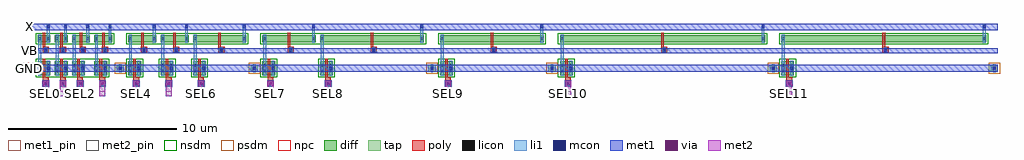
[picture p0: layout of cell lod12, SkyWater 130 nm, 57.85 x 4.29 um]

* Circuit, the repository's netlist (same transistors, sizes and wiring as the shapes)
* NGSPICE file created from lod12.ext - technology: sky130A

.subckt lod12 SEL0 SEL1 SEL2 SEL3 SEL4 SEL5 SEL6 SEL7 SEL8 SEL9 SEL10 SEL11 X VB GND
X0 GND SEL10 a_6330_n392# GND sky130_fd_pr__nfet_01v8 ad=0.252 pd=2.28 as=0.252 ps=2.28 w=0.84 l=0.15
X1 X VB a_342_n392# GND sky130_fd_pr__nfet_01v8 ad=0.126 pd=1.44 as=0.126 ps=1.44 w=0.42 l=0.15
X2 X VB a_546_n392# GND sky130_fd_pr__nfet_01v8 ad=0.189 pd=1.74 as=0.189 ps=1.74 w=0.42 l=0.15
X3 X VB a_1212_n392# GND sky130_fd_pr__nfet_01v8 ad=0.315 pd=2.34 as=0.315 ps=2.34 w=0.42 l=0.15
X4 X VB a_1980_n392# GND sky130_fd_pr__nfet_01v8 ad=0.63 pd=3.84 as=0.63 ps=3.84 w=0.42 l=0.15
X5 GND SEL3 a_810_n392# GND sky130_fd_pr__nfet_01v8 ad=0.252 pd=2.28 as=0.252 ps=2.28 w=0.84 l=0.15
X6 X VB a_138_n392# GND sky130_fd_pr__nfet_01v8 ad=0.126 pd=1.44 as=0.126 ps=1.44 w=0.42 l=0.15
X7 GND SEL0 a_138_n392# GND sky130_fd_pr__nfet_01v8 ad=0.252 pd=2.28 as=0.252 ps=2.28 w=0.84 l=0.15
X8 GND SEL2 a_546_n392# GND sky130_fd_pr__nfet_01v8 ad=0.252 pd=2.28 as=0.252 ps=2.28 w=0.84 l=0.15
X9 GND SEL11 a_8952_n392# GND sky130_fd_pr__nfet_01v8 ad=0.252 pd=2.28 as=0.252 ps=2.28 w=0.84 l=0.15
X10 X VB a_8952_n392# GND sky130_fd_pr__nfet_01v8 ad=2.52 pd=12.84 as=2.52 ps=12.84 w=0.42 l=0.15
X11 GND SEL5 a_1596_n392# GND sky130_fd_pr__nfet_01v8 ad=0.252 pd=2.28 as=0.252 ps=2.28 w=0.84 l=0.15
X12 X VB a_2802_n392# GND sky130_fd_pr__nfet_01v8 ad=0.63 pd=3.84 as=0.63 ps=3.84 w=0.42 l=0.15
X13 X VB a_3486_n392# GND sky130_fd_pr__nfet_01v8 ad=1.26 pd=6.84 as=1.26 ps=6.84 w=0.42 l=0.15
X14 X VB a_810_n392# GND sky130_fd_pr__nfet_01v8 ad=0.189 pd=1.74 as=0.189 ps=1.74 w=0.42 l=0.15
X15 GND SEL7 a_2802_n392# GND sky130_fd_pr__nfet_01v8 ad=0.252 pd=2.28 as=0.252 ps=2.28 w=0.84 l=0.15
X16 GND SEL9 a_4908_n392# GND sky130_fd_pr__nfet_01v8 ad=0.252 pd=2.28 as=0.252 ps=2.28 w=0.84 l=0.15
X17 GND SEL6 a_1980_n392# GND sky130_fd_pr__nfet_01v8 ad=0.252 pd=2.28 as=0.252 ps=2.28 w=0.84 l=0.15
X18 X VB a_1596_n392# GND sky130_fd_pr__nfet_01v8 ad=0.315 pd=2.34 as=0.315 ps=2.34 w=0.42 l=0.15
X19 X VB a_6330_n392# GND sky130_fd_pr__nfet_01v8 ad=2.52 pd=12.84 as=2.52 ps=12.84 w=0.42 l=0.15
X20 GND SEL8 a_3486_n392# GND sky130_fd_pr__nfet_01v8 ad=0.252 pd=2.28 as=0.252 ps=2.28 w=0.84 l=0.15
X21 GND SEL4 a_1212_n392# GND sky130_fd_pr__nfet_01v8 ad=0.252 pd=2.28 as=0.252 ps=2.28 w=0.84 l=0.15
X22 X VB a_4908_n392# GND sky130_fd_pr__nfet_01v8 ad=1.26 pd=6.84 as=1.26 ps=6.84 w=0.42 l=0.15
X23 GND SEL1 a_342_n392# GND sky130_fd_pr__nfet_01v8 ad=0.252 pd=2.28 as=0.252 ps=2.28 w=0.84 l=0.15
.ends

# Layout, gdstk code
import gdstk
lib = gdstk.Library(unit=1e-6, precision=1e-09)
def R(c, l, rs):  # rectangles x0, y0, x1, y1
    for r in rs: c.add(gdstk.rectangle(r[:2], r[2:], *l))
def A(c, l, x, y, w, h, nx, ny, dx, dy):  # array of equal rectangles
    R(c, l, [(x+i*dx, y+j*dy, x+i*dx+w, y+j*dy+h) for i in range(nx) for j in range(ny)])
diff = (65, 20)
tap = (65, 44)
poly = (66, 20)
licon = (66, 44)
li1 = (67, 20)
mcon = (67, 44)
met1_pin = (68, 16)
met1 = (68, 20)
via = (68, 44)
met2_pin = (69, 16)
met2 = (69, 20)
nsdm = (93, 44)
psdm = (94, 20)
npc = (95, 20)

lod12 = lib.new_cell('lod12')
A(lod12, diff, 0.69, -1.96, 0.75, 0.84, 3, 1, 1.02, 0)
A(lod12, diff, 6.06, -1.96, 0.75, 0.84, 3, 1, 1.92, 0)
A(lod12, diff, 17.43, -1.96, 0.75, 0.84, 3, 1, 7.11, 0)
R(lod12, diff, [(4.05,-1.96,4.8,-1.12), (14.01,-1.96,14.76,-1.12), (44.76,-1.96,45.51,-1.12), (0.69,0,1.44,0.42), (1.71,0,2.46,0.42), (2.73,0,3.78,0.42), (4.05,0,5.1,0.42), (6.06,0,7.71,0.42), (7.98,0,9.63,0.42), (9.9,0,13.05,0.42), (14.01,0,17.16,0.42), (17.43,0,23.58,0.42), (24.54,0,30.69,0.42), (31.65,0,43.8,0.42), (44.76,0,56.91,0.42)])
A(lod12, tap, 30.96, -1.75, 0.42, 0.42, 3, 1, 13.11, 0)
R(lod12, tap, [(0,-1.75,0.42,-1.33), (5.37,-1.75,5.79,-1.33), (13.32,-1.75,13.74,-1.33), (23.85,-1.75,24.27,-1.33)])
A(lod12, poly, 0.99, -2.62, 0.34, 0.53, 3, 1, 1.02, 0)
A(lod12, poly, 6.36, -2.62, 0.34, 0.53, 3, 1, 1.92, 0)
A(lod12, poly, 17.73, -2.62, 0.34, 0.53, 3, 1, 7.11, 0)
A(lod12, poly, 0.99, -2.09, 0.15, 1.1, 3, 1, 1.02, 0)
A(lod12, poly, 6.36, -2.09, 0.15, 1.1, 3, 1, 1.92, 0)
A(lod12, poly, 17.73, -2.09, 0.15, 1.1, 3, 1, 7.11, 0)
R(lod12, poly, [(4.35,-2.62,4.69,-2.09), (14.31,-2.62,14.65,-2.09), (45.06,-2.62,45.4,-2.09), (4.35,-2.09,4.5,-0.99), (14.31,-2.09,14.46,-0.99), (45.06,-2.09,45.21,-0.99), (0.99,-0.62,1.33,-0.29), (2.01,-0.62,2.35,-0.29), (3.18,-0.62,3.52,-0.29), (4.5,-0.62,4.84,-0.29), (6.81,-0.62,7.15,-0.29), (8.73,-0.62,9.07,-0.29), (11.4,-0.62,11.74,-0.29), (15.51,-0.62,15.85,-0.29), (20.43,-0.62,20.77,-0.29), (27.54,-0.62,27.88,-0.29), (37.65,-0.62,37.99,-0.29), (50.76,-0.62,51.1,-0.29), (0.99,-0.29,1.14,0.55), (2.01,-0.29,2.16,0.55), (3.18,-0.29,3.33,0.55), (4.5,-0.29,4.65,0.55), (6.81,-0.29,6.96,0.55), (8.73,-0.29,8.88,0.55), (11.4,-0.29,11.55,0.55), (15.51,-0.29,15.66,0.55), (20.43,-0.29,20.58,0.55), (27.54,-0.29,27.69,0.55), (37.65,-0.29,37.8,0.55), (50.76,-0.29,50.91,0.55)])
A(lod12, licon, 1.08, -2.54, 0.17, 0.17, 3, 1, 1.02, 0)
A(lod12, licon, 6.45, -2.54, 0.17, 0.17, 3, 1, 1.92, 0)
A(lod12, licon, 17.82, -2.54, 0.17, 0.17, 3, 1, 7.11, 0)
A(lod12, licon, 31.085, -1.625, 0.17, 0.17, 3, 1, 13.11, 0)
R(lod12, licon, [(4.44,-2.54,4.61,-2.37), (14.4,-2.54,14.57,-2.37), (45.15,-2.54,45.32,-2.37), (0.73,-1.795,0.9,-1.625), (1.23,-1.795,1.4,-1.625), (1.75,-1.795,1.92,-1.625), (2.25,-1.795,2.42,-1.625), (2.77,-1.795,2.94,-1.625), (3.27,-1.795,3.44,-1.625), (4.09,-1.795,4.26,-1.625), (4.59,-1.795,4.76,-1.625), (6.1,-1.795,6.27,-1.625), (6.6,-1.795,6.77,-1.625), (8.02,-1.795,8.19,-1.625), (8.52,-1.795,8.69,-1.625), (9.94,-1.795,10.11,-1.625), (10.44,-1.795,10.61,-1.625), (14.05,-1.795,14.22,-1.625), (14.55,-1.795,14.72,-1.625), (17.47,-1.795,17.64,-1.625), (17.97,-1.795,18.14,-1.625), (24.58,-1.795,24.75,-1.625), (25.08,-1.795,25.25,-1.625), (31.69,-1.795,31.86,-1.625), (32.19,-1.795,32.36,-1.625), (44.8,-1.795,44.97,-1.625), (45.3,-1.795,45.47,-1.625), (0.125,-1.625,0.295,-1.455), (5.495,-1.625,5.665,-1.455), (13.445,-1.625,13.615,-1.455), (23.975,-1.625,24.145,-1.455), (0.73,-1.455,0.9,-1.285), (1.23,-1.455,1.4,-1.285), (1.75,-1.455,1.92,-1.285), (2.25,-1.455,2.42,-1.285), (2.77,-1.455,2.94,-1.285), (3.27,-1.455,3.44,-1.285), (4.09,-1.455,4.26,-1.285), (4.59,-1.455,4.76,-1.285), (6.1,-1.455,6.27,-1.285), (6.6,-1.455,6.77,-1.285), (8.02,-1.455,8.19,-1.285), (8.52,-1.455,8.69,-1.285), (9.94,-1.455,10.11,-1.285), (10.44,-1.455,10.61,-1.285), (14.05,-1.455,14.22,-1.285), (14.55,-1.455,14.72,-1.285), (17.47,-1.455,17.64,-1.285), (17.97,-1.455,18.14,-1.285), (24.58,-1.455,24.75,-1.285), (25.08,-1.455,25.25,-1.285), (31.69,-1.455,31.86,-1.285), (32.19,-1.455,32.36,-1.285), (44.8,-1.455,44.97,-1.285), (45.3,-1.455,45.47,-1.285), (1.08,-0.54,1.25,-0.37), (2.1,-0.54,2.27,-0.37), (3.27,-0.54,3.44,-0.37), (4.59,-0.54,4.76,-0.37), (6.9,-0.54,7.07,-0.37), (8.82,-0.54,8.99,-0.37), (11.49,-0.54,11.66,-0.37), (15.6,-0.54,15.77,-0.37), (20.52,-0.54,20.69,-0.37), (27.63,-0.54,27.8,-0.37), (37.74,-0.54,37.91,-0.37), (50.85,-0.54,51.02,-0.37), (0.73,0.125,0.9,0.295), (1.23,0.125,1.4,0.295), (1.75,0.125,1.92,0.295), (2.25,0.125,2.42,0.295), (2.77,0.125,2.94,0.295), (3.57,0.125,3.74,0.295), (4.09,0.125,4.26,0.295), (4.89,0.125,5.06,0.295), (6.1,0.125,6.27,0.295), (7.5,0.125,7.67,0.295), (8.02,0.125,8.19,0.295), (9.42,0.125,9.59,0.295), (9.94,0.125,10.11,0.295), (12.84,0.125,13.01,0.295), (14.05,0.125,14.22,0.295), (16.95,0.125,17.12,0.295), (17.47,0.125,17.64,0.295), (23.37,0.125,23.54,0.295), (24.58,0.125,24.75,0.295), (30.48,0.125,30.65,0.295), (31.69,0.125,31.86,0.295), (43.59,0.125,43.76,0.295), (44.8,0.125,44.97,0.295), (56.7,0.125,56.87,0.295)])
A(lod12, li1, 1.08, -2.62, 0.17, 0.33, 3, 1, 1.02, 0)
A(lod12, li1, 6.45, -2.62, 0.17, 0.33, 3, 1, 1.92, 0)
A(lod12, li1, 17.82, -2.62, 0.17, 0.33, 3, 1, 7.11, 0)
A(lod12, li1, 0.73, -1.98, 0.17, 2.42, 3, 1, 1.02, 0)
A(lod12, li1, 1.23, -1.98, 0.17, 0.88, 3, 1, 1.02, 0)
A(lod12, li1, 6.1, -1.98, 0.17, 2.42, 3, 1, 1.92, 0)
A(lod12, li1, 6.6, -1.98, 0.17, 0.88, 3, 1, 1.92, 0)
A(lod12, li1, 17.47, -1.98, 0.17, 2.42, 3, 1, 7.11, 0)
A(lod12, li1, 17.97, -1.98, 0.17, 0.88, 3, 1, 7.11, 0)
A(lod12, li1, 31.085, -1.77, 0.17, 0.46, 3, 1, 13.11, 0)
A(lod12, li1, 2.25, -0.02, 0.17, 1.07, 3, 1, 1.32, 0)
A(lod12, li1, 30.48, -0.02, 0.17, 1.07, 3, 1, 13.11, 0)
R(lod12, li1, [(4.44,-2.62,4.61,-2.29), (14.4,-2.62,14.57,-2.29), (45.15,-2.62,45.32,-2.29), (4.09,-1.98,4.26,0.44), (4.59,-1.98,4.76,-1.1), (14.05,-1.98,14.22,0.44), (14.55,-1.98,14.72,-1.1), (44.8,-1.98,44.97,0.44), (45.3,-1.98,45.47,-1.1), (0.125,-1.77,0.295,-1.31), (5.495,-1.77,5.665,-1.31), (13.445,-1.77,13.615,-1.31), (23.975,-1.77,24.145,-1.31), (1.08,-0.62,1.25,-0.29), (2.1,-0.62,2.27,-0.29), (3.27,-0.62,3.44,-0.29), (4.59,-0.62,4.76,-0.29), (6.9,-0.62,7.07,-0.29), (8.82,-0.62,8.99,-0.29), (11.49,-0.62,11.66,-0.29), (15.6,-0.62,15.77,-0.29), (20.52,-0.62,20.69,-0.29), (27.63,-0.62,27.8,-0.29), (37.74,-0.62,37.91,-0.29), (50.85,-0.62,51.02,-0.29), (1.23,-0.02,1.4,1.05), (7.5,-0.02,7.67,1.05), (9.42,-0.02,9.59,1.05), (12.84,-0.02,13.01,1.05), (16.95,-0.02,17.12,1.05), (23.37,-0.02,23.54,1.05)])
A(lod12, mcon, 1.08, -2.54, 0.17, 0.17, 3, 1, 1.02, 0)
A(lod12, mcon, 6.45, -2.54, 0.17, 0.17, 3, 1, 1.92, 0)
A(lod12, mcon, 17.82, -2.54, 0.17, 0.17, 3, 1, 7.11, 0)
A(lod12, mcon, 1.23, -1.625, 0.17, 0.17, 3, 1, 1.02, 0)
A(lod12, mcon, 6.6, -1.625, 0.17, 0.17, 3, 1, 1.92, 0)
A(lod12, mcon, 2.25, 0.82, 0.17, 0.17, 3, 1, 1.32, 0)
A(lod12, mcon, 30.48, 0.82, 0.17, 0.17, 3, 1, 13.11, 0)
R(lod12, mcon, [(4.44,-2.54,4.61,-2.37), (14.4,-2.54,14.57,-2.37), (45.15,-2.54,45.32,-2.37), (0.125,-1.625,0.295,-1.455), (4.59,-1.625,4.76,-1.455), (5.495,-1.625,5.665,-1.455), (13.445,-1.625,13.615,-1.455), (14.55,-1.625,14.72,-1.455), (17.97,-1.625,18.14,-1.455), (23.975,-1.625,24.145,-1.455), (25.08,-1.625,25.25,-1.455), (31.085,-1.625,31.255,-1.455), (32.19,-1.625,32.36,-1.455), (44.195,-1.625,44.365,-1.455), (45.3,-1.625,45.47,-1.455), (57.305,-1.625,57.475,-1.455), (1.08,-0.6,1.25,-0.43), (2.1,-0.6,2.27,-0.43), (3.27,-0.6,3.44,-0.43), (4.59,-0.6,4.76,-0.43), (6.9,-0.6,7.07,-0.43), (8.82,-0.6,8.99,-0.43), (11.49,-0.6,11.66,-0.43), (15.6,-0.6,15.77,-0.43), (20.52,-0.6,20.69,-0.43), (27.63,-0.6,27.8,-0.43), (37.74,-0.6,37.91,-0.43), (50.85,-0.6,51.02,-0.43), (1.23,0.82,1.4,0.99), (7.5,0.82,7.67,0.99), (9.42,0.82,9.59,0.99), (12.84,0.82,13.01,0.99), (16.95,0.82,17.12,0.99), (23.37,0.82,23.54,0.99)])
R(lod12, met1_pin, [(0,-1.74,0.4,-1.34), (0,-0.66,0.4,-0.37), (0,0.72,0.4,1.09)])
A(lod12, met1, 0.965, -2.655, 0.4, 0.4, 3, 1, 1.02, 0)
A(lod12, met1, 6.335, -2.655, 0.4, 0.4, 3, 1, 1.92, 0)
A(lod12, met1, 17.705, -2.655, 0.4, 0.4, 3, 1, 7.11, 0)
R(lod12, met1, [(4.325,-2.655,4.725,-2.255), (14.285,-2.655,14.685,-2.255), (45.035,-2.655,45.435,-2.255), (0,-1.74,57.6,-1.34), (0,-0.66,57.6,-0.37), (0,0.72,57.6,1.09)])
A(lod12, via, 1.09, -2.53, 0.15, 0.15, 3, 1, 1.02, 0)
A(lod12, via, 6.46, -2.53, 0.15, 0.15, 3, 1, 1.92, 0)
A(lod12, via, 17.83, -2.53, 0.15, 0.15, 3, 1, 7.11, 0)
R(lod12, via, [(4.45,-2.53,4.6,-2.38), (14.41,-2.53,14.56,-2.38), (45.16,-2.53,45.31,-2.38)])
A(lod12, met2_pin, 0.985, -3.2, 0.36, 0.3, 3, 1, 1.02, 0)
A(lod12, met2_pin, 6.355, -3.2, 0.36, 0.3, 3, 1, 1.92, 0)
A(lod12, met2_pin, 17.725, -3.2, 0.36, 0.3, 3, 1, 7.11, 0)
R(lod12, met2_pin, [(4.345,-3.2,4.705,-2.9), (14.305,-3.2,14.665,-2.9), (45.055,-3.2,45.415,-2.9)])
A(lod12, met2, 0.985, -3.2, 0.36, 0.925, 3, 1, 1.02, 0)
A(lod12, met2, 6.355, -3.2, 0.36, 0.925, 3, 1, 1.92, 0)
A(lod12, met2, 17.725, -3.2, 0.36, 0.925, 3, 1, 7.11, 0)
R(lod12, met2, [(4.345,-3.2,4.705,-2.275), (14.305,-3.2,14.665,-2.275), (45.055,-3.2,45.415,-2.275)])
A(lod12, nsdm, 5.935, -2.085, 1, 1.09, 3, 1, 1.92, 0)
A(lod12, nsdm, 17.305, -2.085, 1, 1.09, 3, 1, 7.11, 0)
R(lod12, nsdm, [(0.565,-2.085,4.925,-0.995), (13.885,-2.085,14.885,-0.995), (44.635,-2.085,45.635,-0.995), (0.565,-0.125,5.225,0.545), (5.935,-0.125,13.175,0.545), (13.885,-0.125,23.705,0.545), (24.415,-0.125,30.815,0.545), (31.525,-0.125,43.925,0.545), (44.635,-0.125,57.035,0.545)])
A(lod12, psdm, 30.835, -1.875, 0.67, 0.67, 3, 1, 13.11, 0)
R(lod12, psdm, [(-0.125,-1.875,0.545,-1.205), (5.245,-1.875,5.915,-1.205), (13.195,-1.875,13.865,-1.205), (23.725,-1.875,24.395,-1.205)])
A(lod12, npc, 0.98, -2.64, 0.37, 0.37, 3, 1, 1.02, 0)
A(lod12, npc, 6.35, -2.64, 0.37, 0.37, 3, 1, 1.92, 0)
A(lod12, npc, 17.72, -2.64, 0.37, 0.37, 3, 1, 7.11, 0)
R(lod12, npc, [(4.34,-2.64,4.71,-2.27), (14.3,-2.64,14.67,-2.27), (45.05,-2.64,45.42,-2.27), (0.98,-0.64,1.35,-0.27), (2,-0.64,2.37,-0.27), (3.17,-0.64,3.54,-0.27), (4.49,-0.64,4.86,-0.27), (6.8,-0.64,7.17,-0.27), (8.72,-0.64,9.09,-0.27), (11.39,-0.64,11.76,-0.27), (15.5,-0.64,15.87,-0.27), (20.42,-0.64,20.79,-0.27), (27.53,-0.64,27.9,-0.27), (37.64,-0.64,38.01,-0.27), (50.75,-0.64,51.12,-0.27)])
lod12.add(gdstk.Label('SEL0', (1.165,-3.05), layer=69, texttype=5))
lod12.add(gdstk.Label('SEL1', (2.185,-3.05), layer=69, texttype=5))
lod12.add(gdstk.Label('SEL2', (3.205,-3.05), layer=69, texttype=5))
lod12.add(gdstk.Label('SEL3', (4.525,-3.05), layer=69, texttype=5))
lod12.add(gdstk.Label('SEL4', (6.535,-3.05), layer=69, texttype=5))
lod12.add(gdstk.Label('SEL5', (8.455,-3.05), layer=69, texttype=5))
lod12.add(gdstk.Label('SEL6', (10.375,-3.05), layer=69, texttype=5))
lod12.add(gdstk.Label('SEL7', (14.485,-3.05), layer=69, texttype=5))
lod12.add(gdstk.Label('SEL8', (17.905,-3.05), layer=69, texttype=5))
lod12.add(gdstk.Label('SEL9', (25.015,-3.05), layer=69, texttype=5))
lod12.add(gdstk.Label('SEL10', (32.125,-3.05), layer=69, texttype=5))
lod12.add(gdstk.Label('SEL11', (45.235,-3.05), layer=69, texttype=5))
lod12.add(gdstk.Label('X', (0.2,0.905), layer=68, texttype=5))
lod12.add(gdstk.Label('VB', (0.2,-0.515), layer=68, texttype=5))
lod12.add(gdstk.Label('GND', (0.2,-1.54), layer=68, texttype=5))

lib.write_gds('lod12.gds')
